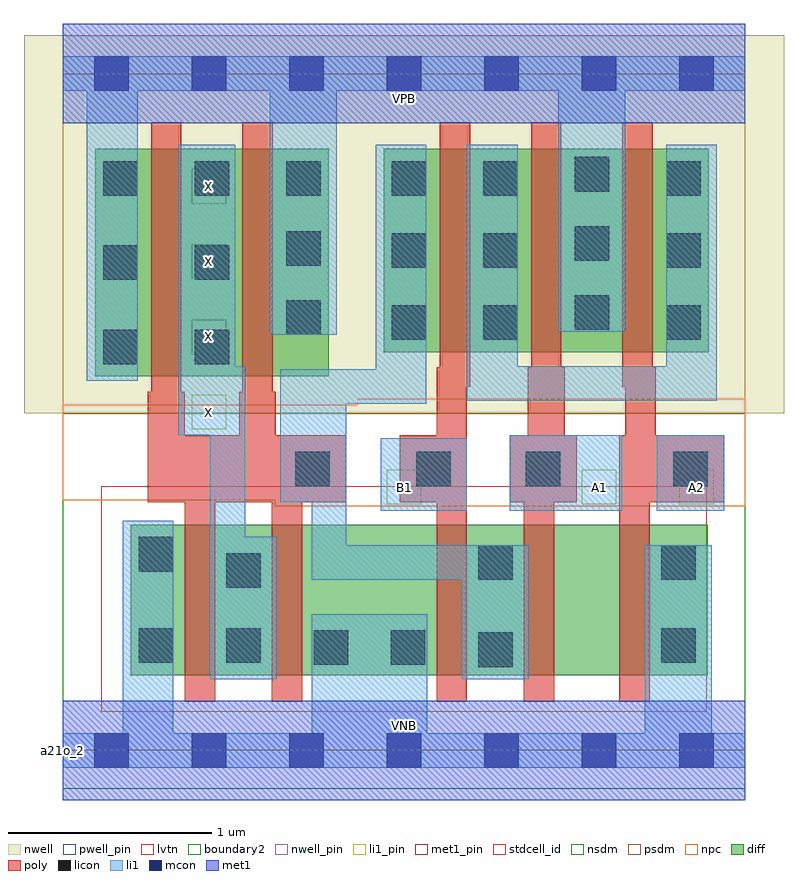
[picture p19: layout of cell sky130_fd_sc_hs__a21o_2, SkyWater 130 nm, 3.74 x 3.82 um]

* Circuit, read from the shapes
.subckt sky130_fd_sc_hs__a21o_2 A1 A2 B1 VGND VNB VPB VPWR X
XM1 X n1 VGND VNB sky130_fd_pr__nfet_01v8_lvt w=0.74 l=0.15 m=2
XM2 n1 B1 VGND VNB sky130_fd_pr__nfet_01v8_lvt w=0.74 l=0.15
XM3 n2 A1 n1 VNB sky130_fd_pr__nfet_01v8_lvt w=0.74 l=0.15
XM4 VGND A2 n2 VNB sky130_fd_pr__nfet_01v8_lvt w=0.74 l=0.15
XM5 X n1 VPWR VPB sky130_fd_pr__pfet_01v8 w=1.12 l=0.15 m=2
XM6 n3 B1 n1 VPB sky130_fd_pr__pfet_01v8 w=1 l=0.15
XM7 VPWR A1 n3 VPB sky130_fd_pr__pfet_01v8 w=1 l=0.15
XM8 n3 A2 VPWR VPB sky130_fd_pr__pfet_01v8 w=1 l=0.15
.ends

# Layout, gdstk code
import gdstk
lib = gdstk.Library(unit=1e-6, precision=1e-09)
def R(c, l, rs):  # rectangles x0, y0, x1, y1
    for r in rs: c.add(gdstk.rectangle(r[:2], r[2:], *l))
def A(c, l, x, y, w, h, nx, ny, dx, dy):  # array of equal rectangles
    R(c, l, [(x+i*dx, y+j*dy, x+i*dx+w, y+j*dy+h) for i in range(nx) for j in range(ny)])
def P(c, l, *ps):  # polygons
    for p in ps: c.add(gdstk.Polygon(p, *l))
nwell_pin = (64, 16)
nwell = (64, 20)
diff = (65, 20)
poly = (66, 20)
licon = (66, 44)
li1_pin = (67, 16)
li1 = (67, 20)
mcon = (67, 44)
met1_pin = (68, 16)
met1 = (68, 20)
stdcell_id = (81, 4)
nsdm = (93, 44)
psdm = (94, 20)
npc = (95, 20)
pwell_pin = (122, 16)
lvtn = (125, 44)
boundary2 = (236, 0)

sky130_fd_sc_hs__a21o_2 = lib.new_cell('sky130_fd_sc_hs__a21o_2')
R(sky130_fd_sc_hs__a21o_2, nwell_pin, [(0,3.085,3.36,3.33)])
R(sky130_fd_sc_hs__a21o_2, nwell, [(-0.19,1.66,3.55,3.52)])
R(sky130_fd_sc_hs__a21o_2, diff, [(0.335,0.37,3.175,1.11), (0.16,1.84,1.31,2.96), (1.58,1.96,3.18,2.96)])
P(sky130_fd_sc_hs__a21o_2, poly, [(3.255,1.55),(2.92,1.55),(2.92,1.885),(2.905,1.885),(2.905,3.09),(2.755,3.09),(2.755,1.79),(2.77,1.79),(2.77,1.55),(2.74,1.55),(2.74,0.24),(2.89,0.24),(2.89,1.22),(3.255,1.22)],
  [(2.53,1.55),(2.47,1.55),(2.47,1.885),(2.455,1.885),(2.455,3.09),(2.305,3.09),(2.305,1.885),(2.29,1.885),(2.29,1.55),(2.2,1.55),(2.2,1.22),(2.27,1.22),(2.27,0.24),(2.42,0.24),(2.42,1.22),(2.53,1.22)],
  [(2.005,3.09),(1.855,3.09),(1.855,1.885),(1.84,1.885),(1.84,1.55),(1.66,1.55),(1.66,1.22),(1.84,1.22),(1.84,0.24),(1.99,0.24),(1.99,1.79),(2.005,1.79)],
  [(1.395,1.55),(1.05,1.55),(1.05,1.765),(1.035,1.765),(1.035,3.09),(0.885,3.09),(0.885,1.765),(0.87,1.765),(0.87,1.55),(0.6,1.55),(0.6,1.765),(0.585,1.765),(0.585,3.09),(0.435,3.09),(0.435,1.765),(0.42,1.765),(0.42,1.22),(0.6,1.22),(0.6,0.24),(0.75,0.24),(0.75,1.22),(1.03,1.22),(1.03,0.24),(1.18,0.24),(1.18,1.22),(1.395,1.22)])
A(sky130_fd_sc_hs__a21o_2, licon, 1.62, 2.02, 0.17, 0.17, 1, 3, 0, 0.355)
A(sky130_fd_sc_hs__a21o_2, licon, 2.07, 2.02, 0.17, 0.17, 1, 3, 0, 0.355)
A(sky130_fd_sc_hs__a21o_2, licon, 2.97, 2.02, 0.17, 0.17, 1, 3, 0, 0.355)
A(sky130_fd_sc_hs__a21o_2, licon, 2.52, 2.07, 0.17, 0.17, 1, 3, 0, 0.34)
A(sky130_fd_sc_hs__a21o_2, licon, 0.2, 2.73, 0.17, 0.17, 3, 1, 0.45, 0)
R(sky130_fd_sc_hs__a21o_2, licon, [(2.045,0.41,2.215,0.58), (1.235,0.42,1.405,0.59), (1.615,0.42,1.785,0.59), (0.375,0.43,0.545,0.6), (0.805,0.43,0.975,0.6), (2.945,0.43,3.115,0.6), (0.805,0.8,0.975,0.97), (2.045,0.84,2.215,1.01), (2.945,0.84,3.115,1.01), (0.375,0.88,0.545,1.05), (1.145,1.3,1.315,1.47), (1.74,1.3,1.91,1.47), (2.28,1.3,2.45,1.47), (3.005,1.3,3.175,1.47), (0.2,1.9,0.37,2.07), (0.65,1.9,0.82,2.07), (1.1,2.045,1.27,2.215), (0.2,2.315,0.37,2.485), (0.65,2.315,0.82,2.485), (1.1,2.385,1.27,2.555)])
A(sky130_fd_sc_hs__a21o_2, li1_pin, 0.635, 1.58, 0.17, 0.17, 1, 4, 0, 0.37)
R(sky130_fd_sc_hs__a21o_2, li1_pin, [(1.595,1.21,1.765,1.38), (2.555,1.21,2.725,1.38), (3.035,1.21,3.205,1.38)])
R(sky130_fd_sc_hs__a21o_2, li1, [(1.565,1.18,1.99,1.535), (2.2,1.18,2.755,1.55), (2.925,1.18,3.255,1.55)])
P(sky130_fd_sc_hs__a21o_2, li1, [(1.02,2.045),(1.02,3.245),(0.37,3.245),(0.37,1.82),(0.12,1.82),(0.12,3.245),(0,3.245),(0,3.415),(3.36,3.415),(3.36,3.245),(2.77,3.245),(2.77,2.06),(2.44,2.06),(2.44,3.245),(1.35,3.245),(1.35,2.045)],
  [(2.865,0.085),(2.865,1.01),(3.195,1.01),(3.195,0.085),(3.36,0.085),(3.36,-0.085),(0,-0.085),(0,0.085),(0.295,0.085),(0.295,1.13),(0.545,1.13),(0.545,0.085),(1.225,0.085),(1.225,0.67),(1.795,0.67),(1.795,0.085)],
  [(1.225,0.84),(1.225,1.22),(1.07,1.22),(1.07,1.875),(1.54,1.875),(1.54,2.98),(1.79,2.98),(1.79,1.705),(1.395,1.705),(1.395,1.01),(2.295,1.01),(2.295,0.35),(1.965,0.35),(1.965,0.84)],
  [(2.97,1.89),(2.97,2.98),(3.22,2.98),(3.22,1.72),(1.99,1.72),(1.99,2.98),(2.24,2.98),(2.24,1.89)],
  [(1.055,1.05),(0.9,1.05),(0.9,1.89),(0.85,1.89),(0.85,2.98),(0.57,2.98),(0.57,1.55),(0.725,1.55),(0.725,0.35),(1.055,0.35)])
A(sky130_fd_sc_hs__a21o_2, mcon, 0.155, -0.085, 0.17, 0.17, 7, 2, 0.48, 3.33)
R(sky130_fd_sc_hs__a21o_2, met1_pin, [(0,0,3.36,0.245), (0,3.085,3.36,3.33)])
R(sky130_fd_sc_hs__a21o_2, met1, [(0,-0.245,3.36,0.245), (0,3.085,3.36,3.575)])
R(sky130_fd_sc_hs__a21o_2, stdcell_id, [(0,0,3.36,3.33)])
R(sky130_fd_sc_hs__a21o_2, nsdm, [(0,-0.19,3.36,1.66)])
R(sky130_fd_sc_hs__a21o_2, psdm, [(0,1.66,3.36,3.52)])
P(sky130_fd_sc_hs__a21o_2, npc, [(3.36,1.73),(1.45,1.73),(1.45,1.7),(0,1.7),(0,1.23),(1.045,1.23),(1.045,1.2),(3.36,1.2)])
R(sky130_fd_sc_hs__a21o_2, pwell_pin, [(0,0,3.36,0.245)])
R(sky130_fd_sc_hs__a21o_2, lvtn, [(0.19,0.19,3.17,1.3)])
R(sky130_fd_sc_hs__a21o_2, boundary2, [(0,0,3.36,3.33)])
sky130_fd_sc_hs__a21o_2.add(gdstk.Label('a21o_2', (0,0), layer=83, texttype=44))
sky130_fd_sc_hs__a21o_2.add(gdstk.Label('VNB', (1.68,0.123), layer=64, texttype=59))
sky130_fd_sc_hs__a21o_2.add(gdstk.Label('VPB', (1.68,3.208), layer=64, texttype=5))
sky130_fd_sc_hs__a21o_2.add(gdstk.Label('VPWR', (1.68,3.208), layer=68, texttype=5))
sky130_fd_sc_hs__a21o_2.add(gdstk.Label('VGND', (1.68,0.123), layer=68, texttype=5))
sky130_fd_sc_hs__a21o_2.add(gdstk.Label('B1', (1.68,1.295), layer=67, texttype=5))
sky130_fd_sc_hs__a21o_2.add(gdstk.Label('A2', (3.12,1.295), layer=67, texttype=5))
sky130_fd_sc_hs__a21o_2.add(gdstk.Label('A1', (2.64,1.295), layer=67, texttype=5))
sky130_fd_sc_hs__a21o_2.add(gdstk.Label('X', (0.72,1.665), layer=67, texttype=5))
sky130_fd_sc_hs__a21o_2.add(gdstk.Label('X', (0.72,2.035), layer=67, texttype=5))
sky130_fd_sc_hs__a21o_2.add(gdstk.Label('X', (0.72,2.405), layer=67, texttype=5))
sky130_fd_sc_hs__a21o_2.add(gdstk.Label('X', (0.72,2.775), layer=67, texttype=5))

lib.write_gds('sky130_fd_sc_hs__a21o_2.gds')
